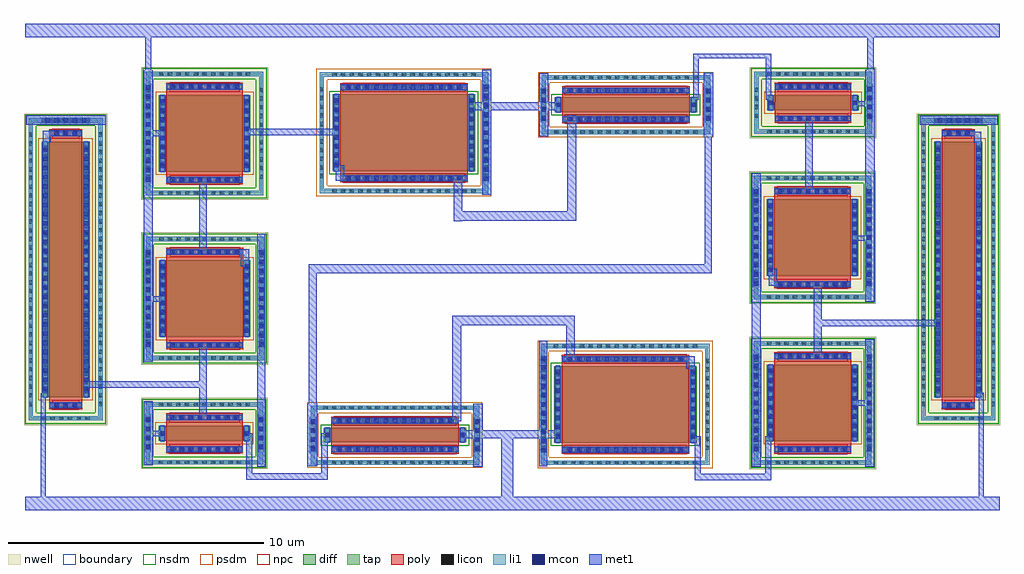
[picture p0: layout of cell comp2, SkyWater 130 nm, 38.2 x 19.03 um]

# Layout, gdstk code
from math import pi, radians
import gdstk
lib = gdstk.Library(unit=1e-6, precision=1e-09)
def R(c, l, rs):  # rectangles x0, y0, x1, y1
    for r in rs: c.add(gdstk.rectangle(r[:2], r[2:], *l))
def A(c, l, x, y, w, h, nx, ny, dx, dy):  # array of equal rectangles
    R(c, l, [(x+i*dx, y+j*dy, x+i*dx+w, y+j*dy+h) for i in range(nx) for j in range(ny)])
nwell = (64, 20)
diff = (65, 20)
tap = (65, 44)
poly = (66, 20)
licon = (66, 44)
li1 = (67, 20)
mcon = (67, 44)
met1 = (68, 20)
nsdm = (93, 44)
psdm = (94, 20)
npc = (95, 20)
boundary = (235, 4)

sky130_fd_pr__pfet_01v8_ = lib.new_cell('sky130_fd_pr__pfet_01v8_NXK9QA')
R(sky130_fd_pr__pfet_01v8_, nwell, [(-2.48,-2.595,2.48,2.595)])
R(sky130_fd_pr__pfet_01v8_, diff, [(-1.79,-1.5,1.79,1.5)])
R(sky130_fd_pr__pfet_01v8_, tap, [(-2.3,-2.415,2.3,-2.245), (-2.3,-2.245,-2.13,2.245), (2.13,-2.245,2.3,2.245), (-2.3,2.245,2.3,2.415)])
R(sky130_fd_pr__pfet_01v8_, poly, [(-1.5,-1.985,1.5,1.985)])
A(sky130_fd_pr__pfet_01v8_, licon, -1.785, -2.415, 0.17, 0.17, 11, 2, 0.34, 4.66)
A(sky130_fd_pr__pfet_01v8_, licon, -1.275, -1.905, 0.17, 0.17, 8, 2, 0.34, 3.64)
A(sky130_fd_pr__pfet_01v8_, licon, -2.3, -1.785, 0.17, 0.17, 1, 11, 0, 0.34)
A(sky130_fd_pr__pfet_01v8_, licon, 2.13, -1.785, 0.17, 0.17, 1, 11, 0, 0.34)
A(sky130_fd_pr__pfet_01v8_, licon, -1.73, -1.275, 0.17, 0.17, 1, 8, 0, 0.34)
A(sky130_fd_pr__pfet_01v8_, licon, 1.56, -1.275, 0.17, 0.17, 1, 8, 0, 0.34)
R(sky130_fd_pr__pfet_01v8_, li1, [(-2.3,-2.415,2.3,-2.245), (-2.3,-2.245,-2.13,2.245), (2.13,-2.245,2.3,2.245), (-1.5,-1.905,1.5,-1.735), (-1.73,-1.52,-1.56,1.52), (1.56,-1.52,1.73,1.52), (-1.5,1.735,1.5,1.905), (-2.3,2.245,2.3,2.415)])
A(sky130_fd_pr__pfet_01v8_, mcon, -1.345, -1.905, 0.17, 0.17, 8, 2, 0.36, 3.64)
A(sky130_fd_pr__pfet_01v8_, mcon, -1.73, -1.345, 0.17, 0.17, 1, 8, 0, 0.36)
A(sky130_fd_pr__pfet_01v8_, mcon, 1.56, -1.345, 0.17, 0.17, 1, 8, 0, 0.36)
R(sky130_fd_pr__pfet_01v8_, met1, [(-1.48,-1.935,1.48,-1.705), (-1.76,-1.5,-1.53,1.5), (1.53,-1.5,1.76,1.5), (-1.48,1.705,1.48,1.935)])
R(sky130_fd_pr__pfet_01v8_, nsdm, [(-2.425,-2.54,2.425,-2.12), (-2.425,-2.12,-2.005,2.12), (2.005,-2.12,2.425,2.12), (-2.425,2.12,2.425,2.54)])
R(sky130_fd_pr__pfet_01v8_, psdm, [(-1.915,-1.625,1.915,1.625)])
R(sky130_fd_pr__pfet_01v8_, npc, [(-1.375,-2.005,1.375,-1.635), (-1.375,1.635,1.375,2.005)])
R(sky130_fd_pr__pfet_01v8_, boundary, [(-2.215,-2.33,2.215,2.33)])

c_sky130_fd_pr__pfet_01v8_ = lib.new_cell('sky130_fd_pr__pfet_01v8_KDYT8F')
R(c_sky130_fd_pr__pfet_01v8_, nwell, [(-2.48,-1.395,2.48,1.395)])
R(c_sky130_fd_pr__pfet_01v8_, diff, [(-1.79,-0.3,1.79,0.3)])
R(c_sky130_fd_pr__pfet_01v8_, tap, [(-2.3,-1.215,2.3,-1.045), (-2.3,-1.045,-2.13,1.045), (2.13,-1.045,2.3,1.045), (-2.3,1.045,2.3,1.215)])
R(c_sky130_fd_pr__pfet_01v8_, poly, [(-1.5,-0.785,1.5,0.785)])
A(c_sky130_fd_pr__pfet_01v8_, licon, -1.785, -1.215, 0.17, 0.17, 11, 2, 0.34, 2.26)
A(c_sky130_fd_pr__pfet_01v8_, licon, -1.275, -0.705, 0.17, 0.17, 8, 2, 0.34, 1.24)
A(c_sky130_fd_pr__pfet_01v8_, licon, -2.3, -0.595, 0.17, 0.17, 1, 4, 0, 0.34)
A(c_sky130_fd_pr__pfet_01v8_, licon, 2.13, -0.595, 0.17, 0.17, 1, 4, 0, 0.34)
R(c_sky130_fd_pr__pfet_01v8_, licon, [(-1.73,-0.085,-1.56,0.085), (1.56,-0.085,1.73,0.085)])
R(c_sky130_fd_pr__pfet_01v8_, li1, [(-2.3,-1.215,2.3,-1.045), (-2.3,-1.045,-2.13,1.045), (2.13,-1.045,2.3,1.045), (-1.5,-0.705,1.5,-0.535), (-1.73,-0.32,-1.56,0.32), (1.56,-0.32,1.73,0.32), (-1.5,0.535,1.5,0.705), (-2.3,1.045,2.3,1.215)])
A(c_sky130_fd_pr__pfet_01v8_, mcon, -1.345, -0.705, 0.17, 0.17, 8, 2, 0.36, 1.24)
R(c_sky130_fd_pr__pfet_01v8_, mcon, [(-1.73,-0.085,-1.56,0.085), (1.56,-0.085,1.73,0.085)])
R(c_sky130_fd_pr__pfet_01v8_, met1, [(-1.48,-0.735,1.48,-0.505), (-1.76,-0.3,-1.53,0.3), (1.53,-0.3,1.76,0.3), (-1.48,0.505,1.48,0.735)])
R(c_sky130_fd_pr__pfet_01v8_, nsdm, [(-2.425,-1.34,2.425,-0.92), (-2.425,-0.92,-2.005,0.92), (2.005,-0.92,2.425,0.92), (-2.425,0.92,2.425,1.34)])
R(c_sky130_fd_pr__pfet_01v8_, psdm, [(-1.915,-0.425,1.915,0.425)])
R(c_sky130_fd_pr__pfet_01v8_, npc, [(-1.375,-0.805,1.375,-0.435), (-1.375,0.435,1.375,0.805)])
R(c_sky130_fd_pr__pfet_01v8_, boundary, [(-2.215,-1.13,2.215,1.13)])

c_sky130_fd_pr__pfet_01v8__ = lib.new_cell('sky130_fd_pr__pfet_01v8_GE7BQD')
R(c_sky130_fd_pr__pfet_01v8__, nwell, [(-1.63,-6.095,1.63,6.095)])
R(c_sky130_fd_pr__pfet_01v8__, diff, [(-0.94,-5,0.94,5)])
R(c_sky130_fd_pr__pfet_01v8__, tap, [(-1.45,-5.915,1.45,-5.745), (-1.45,-5.745,-1.28,5.745), (1.28,-5.745,1.45,5.745), (-1.45,5.745,1.45,5.915)])
R(c_sky130_fd_pr__pfet_01v8__, poly, [(-0.65,-5.485,0.65,5.485)])
A(c_sky130_fd_pr__pfet_01v8__, licon, -0.935, -5.915, 0.17, 0.17, 6, 2, 0.34, 11.66)
A(c_sky130_fd_pr__pfet_01v8__, licon, -0.425, -5.405, 0.17, 0.17, 3, 2, 0.34, 10.64)
A(c_sky130_fd_pr__pfet_01v8__, licon, -1.45, -5.355, 0.17, 0.17, 1, 32, 0, 0.34)
A(c_sky130_fd_pr__pfet_01v8__, licon, 1.28, -5.355, 0.17, 0.17, 1, 32, 0, 0.34)
A(c_sky130_fd_pr__pfet_01v8__, licon, -0.88, -4.845, 0.17, 0.17, 1, 29, 0, 0.34)
A(c_sky130_fd_pr__pfet_01v8__, licon, 0.71, -4.845, 0.17, 0.17, 1, 29, 0, 0.34)
R(c_sky130_fd_pr__pfet_01v8__, li1, [(-1.45,-5.915,1.45,-5.745), (-1.45,-5.745,-1.28,5.745), (1.28,-5.745,1.45,5.745), (-0.65,-5.405,0.65,-5.235), (-0.88,-5.02,-0.71,5.02), (0.71,-5.02,0.88,5.02), (-0.65,5.235,0.65,5.405), (-1.45,5.745,1.45,5.915)])
A(c_sky130_fd_pr__pfet_01v8__, mcon, -0.445, -5.405, 0.17, 0.17, 3, 2, 0.36, 10.64)
A(c_sky130_fd_pr__pfet_01v8__, mcon, -0.88, -4.765, 0.17, 0.17, 1, 27, 0, 0.36)
A(c_sky130_fd_pr__pfet_01v8__, mcon, 0.71, -4.765, 0.17, 0.17, 1, 27, 0, 0.36)
R(c_sky130_fd_pr__pfet_01v8__, met1, [(-0.63,-5.435,0.63,-5.205), (-0.91,-5,-0.68,5), (0.68,-5,0.91,5), (-0.63,5.205,0.63,5.435)])
R(c_sky130_fd_pr__pfet_01v8__, nsdm, [(-1.575,-6.04,1.575,-5.62), (-1.575,-5.62,-1.155,5.62), (1.155,-5.62,1.575,5.62), (-1.575,5.62,1.575,6.04)])
R(c_sky130_fd_pr__pfet_01v8__, psdm, [(-1.065,-5.125,1.065,5.125)])
R(c_sky130_fd_pr__pfet_01v8__, npc, [(-0.525,-5.505,0.525,-5.135), (-0.525,5.135,0.525,5.505)])
R(c_sky130_fd_pr__pfet_01v8__, boundary, [(-1.365,-5.83,1.365,5.83)])

sky130_fd_pr__nfet_01v8_ = lib.new_cell('sky130_fd_pr__nfet_01v8_MXF53G')
R(sky130_fd_pr__nfet_01v8_, diff, [(-2.79,-1.5,2.79,1.5)])
R(sky130_fd_pr__nfet_01v8_, tap, [(-3.3,-2.37,3.3,-2.2), (-3.3,-2.2,-3.13,2.2), (3.13,-2.2,3.3,2.2), (-3.3,2.2,3.3,2.37)])
R(sky130_fd_pr__nfet_01v8_, poly, [(-2.5,-1.94,2.5,1.94)])
A(sky130_fd_pr__nfet_01v8_, licon, -2.805, -2.37, 0.17, 0.17, 17, 2, 0.34, 4.57)
A(sky130_fd_pr__nfet_01v8_, licon, -2.295, -1.86, 0.17, 0.17, 14, 2, 0.34, 3.55)
A(sky130_fd_pr__nfet_01v8_, licon, -3.3, -1.785, 0.17, 0.17, 1, 11, 0, 0.34)
A(sky130_fd_pr__nfet_01v8_, licon, 3.13, -1.785, 0.17, 0.17, 1, 11, 0, 0.34)
A(sky130_fd_pr__nfet_01v8_, licon, -2.73, -1.275, 0.17, 0.17, 1, 8, 0, 0.34)
A(sky130_fd_pr__nfet_01v8_, licon, 2.56, -1.275, 0.17, 0.17, 1, 8, 0, 0.34)
R(sky130_fd_pr__nfet_01v8_, li1, [(-3.3,-2.37,3.3,-2.2), (-3.3,-2.2,-3.13,2.2), (3.13,-2.2,3.3,2.2), (-2.5,-1.86,2.5,-1.69), (-2.73,-1.52,-2.56,1.52), (2.56,-1.52,2.73,1.52), (-2.5,1.69,2.5,1.86), (-3.3,2.2,3.3,2.37)])
A(sky130_fd_pr__nfet_01v8_, mcon, -2.245, -1.86, 0.17, 0.17, 13, 2, 0.36, 3.55)
A(sky130_fd_pr__nfet_01v8_, mcon, -2.73, -1.345, 0.17, 0.17, 1, 8, 0, 0.36)
A(sky130_fd_pr__nfet_01v8_, mcon, 2.56, -1.345, 0.17, 0.17, 1, 8, 0, 0.36)
R(sky130_fd_pr__nfet_01v8_, met1, [(-2.48,-1.89,2.48,-1.66), (-2.76,-1.5,-2.53,1.5), (2.53,-1.5,2.76,1.5), (-2.48,1.66,2.48,1.89)])
R(sky130_fd_pr__nfet_01v8_, nsdm, [(-2.915,-1.625,2.915,1.625)])
R(sky130_fd_pr__nfet_01v8_, psdm, [(-3.425,-2.495,3.425,-2.075), (-3.425,-2.075,-3.005,2.075), (3.005,-2.075,3.425,2.075), (-3.425,2.075,3.425,2.495)])
R(sky130_fd_pr__nfet_01v8_, npc, [(-2.395,-1.96,2.395,-1.59), (-2.395,1.59,2.395,1.96)])
R(sky130_fd_pr__nfet_01v8_, boundary, [(-3.21,-2.28,3.21,2.28)])

c_sky130_fd_pr__nfet_01v8_ = lib.new_cell('sky130_fd_pr__nfet_01v8_HXU4AK')
R(c_sky130_fd_pr__nfet_01v8_, diff, [(-2.79,-0.285,2.79,0.285)])
R(c_sky130_fd_pr__nfet_01v8_, tap, [(-3.3,-1.155,3.3,-0.985), (-3.3,-0.985,-3.13,0.985), (3.13,-0.985,3.3,0.985), (-3.3,0.985,3.3,1.155)])
R(c_sky130_fd_pr__nfet_01v8_, poly, [(-2.5,-0.725,2.5,0.725)])
A(c_sky130_fd_pr__nfet_01v8_, licon, -2.805, -1.155, 0.17, 0.17, 17, 2, 0.34, 2.14)
A(c_sky130_fd_pr__nfet_01v8_, licon, -2.295, -0.645, 0.17, 0.17, 14, 2, 0.34, 1.12)
A(c_sky130_fd_pr__nfet_01v8_, licon, -3.3, -0.595, 0.17, 0.17, 1, 4, 0, 0.34)
A(c_sky130_fd_pr__nfet_01v8_, licon, 3.13, -0.595, 0.17, 0.17, 1, 4, 0, 0.34)
R(c_sky130_fd_pr__nfet_01v8_, licon, [(-2.73,-0.085,-2.56,0.085), (2.56,-0.085,2.73,0.085)])
R(c_sky130_fd_pr__nfet_01v8_, li1, [(-3.3,-1.155,3.3,-0.985), (-3.3,-0.985,-3.13,0.985), (3.13,-0.985,3.3,0.985), (-2.5,-0.645,2.5,-0.475), (-2.73,-0.305,-2.56,0.305), (2.56,-0.305,2.73,0.305), (-2.5,0.475,2.5,0.645), (-3.3,0.985,3.3,1.155)])
A(c_sky130_fd_pr__nfet_01v8_, mcon, -2.245, -0.645, 0.17, 0.17, 13, 2, 0.36, 1.12)
R(c_sky130_fd_pr__nfet_01v8_, mcon, [(-2.73,-0.085,-2.56,0.085), (2.56,-0.085,2.73,0.085)])
R(c_sky130_fd_pr__nfet_01v8_, met1, [(-2.48,-0.675,2.48,-0.445), (-2.76,-0.285,-2.53,0.285), (2.53,-0.285,2.76,0.285), (-2.48,0.445,2.48,0.675)])
R(c_sky130_fd_pr__nfet_01v8_, nsdm, [(-2.915,-0.41,2.915,0.41)])
R(c_sky130_fd_pr__nfet_01v8_, psdm, [(-3.425,-1.28,3.425,-0.86), (-3.425,-0.86,-3.005,0.86), (3.005,-0.86,3.425,0.86), (-3.425,0.86,3.425,1.28)])
R(c_sky130_fd_pr__nfet_01v8_, npc, [(-2.395,-0.745,2.395,-0.375), (-2.395,0.375,2.395,0.745)])
R(c_sky130_fd_pr__nfet_01v8_, boundary, [(-3.215,-1.07,3.215,1.07)])

comp2 = lib.new_cell('comp2')
R(comp2, li1, [(55.66,-9.27,55.88,-5.49), (46.61,-9.26,46.87,-7.91), (53.06,-9.26,53.3,-7.91), (63.98,-9.26,64.21,-5.39), (68.42,-9.26,68.63,-5.39), (40.18,-9.25,40.4,-7.78), (44.61,-9.25,44.83,-7.78), (40.19,-5.18,40.41,-1.3), (44.63,-5.18,44.84,-1.3), (63.97,-2.79,64.2,1.08), (68.4,-2.79,68.63,1.08), (40.18,1.29,40.4,5.16), (53.41,1.36,53.64,5.14), (36.1,3.62,38.05,3.84), (71.04,3.63,72.98,3.84), (55.67,3.67,55.89,5.02), (62.1,3.67,62.34,5.02), (68.42,3.69,68.65,5.16)])
A(comp2, mcon, 55.685, -9.265, 0.17, 0.17, 1, 11, 0, 0.36)
A(comp2, mcon, 46.655, -9.21, 0.17, 0.17, 1, 4, 0, 0.36)
A(comp2, mcon, 53.095, -9.21, 0.17, 0.17, 1, 4, 0, 0.36)
A(comp2, mcon, 64.01, -9.21, 0.17, 0.17, 1, 11, 0, 0.36)
A(comp2, mcon, 68.44, -9.21, 0.17, 0.17, 1, 11, 0, 0.36)
A(comp2, mcon, 40.205, -9.14, 0.17, 0.17, 1, 4, 0, 0.36)
A(comp2, mcon, 44.635, -9.14, 0.17, 0.17, 1, 4, 0, 0.36)
A(comp2, mcon, 40.215, -5.125, 0.17, 0.17, 1, 11, 0, 0.36)
A(comp2, mcon, 44.65, -5.125, 0.17, 0.17, 1, 11, 0, 0.36)
A(comp2, mcon, 64, -2.74, 0.17, 0.17, 1, 11, 0, 0.36)
A(comp2, mcon, 68.43, -2.74, 0.17, 0.17, 1, 11, 0, 0.36)
A(comp2, mcon, 40.205, 1.34, 0.17, 0.17, 1, 11, 0, 0.36)
A(comp2, mcon, 53.44, 1.365, 0.17, 0.17, 1, 11, 0, 0.36)
A(comp2, mcon, 36.27, 3.645, 0.17, 0.17, 5, 1, 0.36, 0)
A(comp2, mcon, 71.205, 3.65, 0.17, 0.17, 5, 1, 0.36, 0)
A(comp2, mcon, 55.695, 3.72, 0.17, 0.17, 1, 4, 0, 0.36)
A(comp2, mcon, 62.135, 3.72, 0.17, 0.17, 1, 4, 0, 0.36)
A(comp2, mcon, 68.45, 3.8, 0.17, 0.17, 1, 4, 0, 0.36)
R(comp2, met1, [(35.48,-11.52,73.63,-10.99), (36.09,-10.99,36.29,-6.94), (54.12,-10.99,54.58,-8.71), (72.81,-10.99,73.01,-6.93), (61.7,-10.36,64.68,-10.1), (44.13,-10.34,47.32,-10.08), (61.7,-10.1,61.92,-8.63), (64.46,-10.1,64.68,-8.63), (44.13,-10.08,44.37,-8.51), (47.08,-10.08,47.32,-8.51), (68.37,-9.83,68.71,-7.43), (44.57,-9.82,44.89,-0.71), (53.02,-9.82,53.39,-8.71), (63.92,-9.82,64.28,1.66), (46.53,-9.81,46.92,-7.35), (55.6,-9.81,55.92,-8.71), (40.12,-9.77,40.47,-8.62), (52.61,-8.71,56.35,-8.4), (40.12,-8.62,40.88,-8.41), (40.12,-8.41,40.47,-7.25), (53.02,-8.4,53.39,-7.35), (55.6,-8.4,55.92,-4.9), (52.2,-8.04,52.56,-4.28), (42.3,-7.94,42.6,-6.73), (67.91,-7.43,68.71,-7.23), (46.58,-7.35,46.9,-2.24), (68.37,-7.23,68.71,-4.83), (37.87,-6.73,42.6,-6.47), (42.3,-6.47,42.6,-5.06), (61.36,-5.99,61.7,-5.5), (40.12,-5.71,40.47,-3.37), (56.66,-5.63,57,-4.28), (66.36,-5.51,66.66,-4.32), (66.36,-4.32,71.25,-4.06), (52.2,-4.28,57,-3.91), (66.36,-4.06,66.66,-2.63), (40.12,-3.37,40.91,-3.15), (68.36,-3.36,68.73,-0.98), (40.12,-3.15,40.47,3.12), (64.58,-2.74,64.91,-2.08), (46.58,-2.24,62.36,-1.9), (43.93,-1.98,44.26,-1.32), (62.09,-1.9,62.36,3.11), (42.3,-1.41,42.6,1.47), (67.9,-0.98,68.73,-0.78), (68.36,-0.78,68.73,4.28), (52.26,-0.21,52.6,-0.2), (52.26,-0.2,57.06,0.17), (52.26,0.17,52.6,1.51), (56.7,0.17,57.06,3.93), (53.37,0.82,53.72,4.13), (66.01,0.99,66.31,3.87), (47.64,1.37,47.98,1.97), (72.61,2.85,72.91,3.29), (36.18,2.88,36.48,3.32), (62.04,3.11,62.42,5.59), (40.12,3.12,40.93,3.35), (55.61,3.12,55.96,4.13), (44.15,3.15,47.67,3.41), (40.12,3.35,40.47,5.7), (35.52,3.56,38.63,3.94), (70.5,3.57,73.55,3.91), (52.97,4.13,56.33,4.44), (64.79,4.18,64.8,4.44), (67.92,4.28,68.73,4.49), (53.37,4.44,53.72,5.72), (55.61,4.44,55.96,5.58), (68.36,4.49,68.73,5.72), (61.63,4.54,61.85,6.16), (64.47,4.54,64.69,6.16), (40.18,5.7,40.42,6.98), (68.45,5.72,68.69,6.98), (61.63,6.16,64.69,6.35), (35.48,6.98,73.63,7.51)])
comp2.add(gdstk.Reference(sky130_fd_pr__pfet_01v8_, (66.3,-0.855), rotation=pi))
comp2.add(gdstk.Reference(sky130_fd_pr__pfet_01v8_, (42.51,3.225), rotation=pi))
comp2.add(gdstk.Reference(sky130_fd_pr__pfet_01v8_, (66.31,-7.325), rotation=pi))
comp2.add(gdstk.Reference(sky130_fd_pr__pfet_01v8_, (42.515,-3.24), rotation=pi))
comp2.add(gdstk.Reference(c_sky130_fd_pr__pfet_01v8_, (42.5,-8.515)))
comp2.add(gdstk.Reference(c_sky130_fd_pr__pfet_01v8_, (66.32,4.425)))
comp2.add(gdstk.Reference(c_sky130_fd_pr__pfet_01v8__, (72.01,-2.095)))
comp2.add(gdstk.Reference(c_sky130_fd_pr__pfet_01v8__, (37.07,-2.095)))
comp2.add(gdstk.Reference(sky130_fd_pr__nfet_01v8_, (50.31,3.25)))
comp2.add(gdstk.Reference(sky130_fd_pr__nfet_01v8_, (58.98,-7.38)))
comp2.add(gdstk.Reference(c_sky130_fd_pr__nfet_01v8_, (49.96,-8.585)))
comp2.add(gdstk.Reference(c_sky130_fd_pr__nfet_01v8_, (59,4.345)))

lib.write_gds('comp2.gds')
